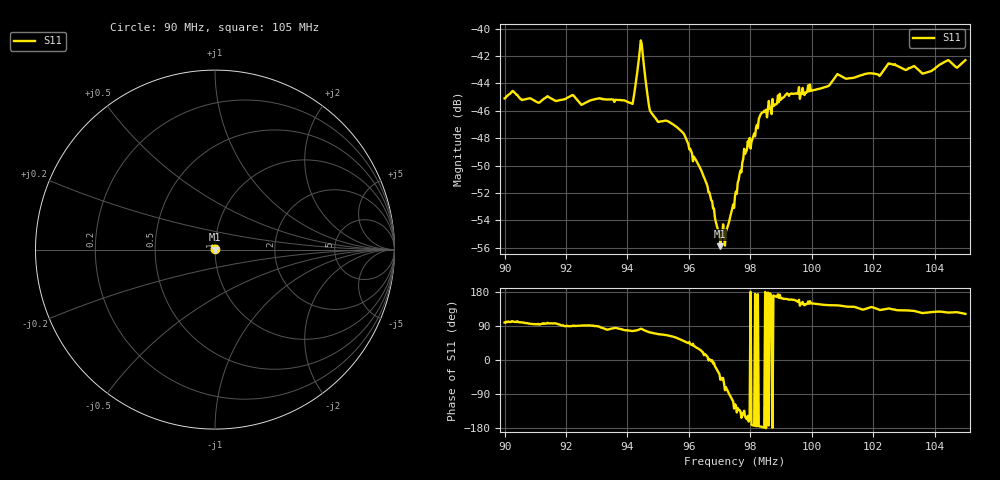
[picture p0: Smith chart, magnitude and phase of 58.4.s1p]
# HZ S RI R 50
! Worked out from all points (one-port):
!   505 points, 90 MHz to 105 MHz, reference 50 ohm
!   lowest |S11| = -55.9 dB at 97.02 MHz (marker M1), VSWR 1.00, Z = 50.1 - j0.127 ohm
!   |S11| at or under -10 dB: start of sweep to end of sweep
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9e7  -0.000876 0.00549
9.026786e7  -0.0012 0.0058
9.107143e7  -0.000387 0.00537
9.187501e7  -0.000121 0.0055
9.375001e7  0.00075 0.00544
9.416668e7  0.00125 0.00516
9.443454e7  0.00118 0.00898
9.449406e7  0.00133 0.008
9.467263e7  0.0015 0.00529
9.476192e7  0.00152 0.00472
9.562502e7  0.00233 0.00367
9.586311e7  0.00268 0.00306
9.651788e7  0.00271 0.000773
9.702383e7  0.000986 -0.00127
9.723217e7  0.00042 -0.0018
9.750002e7  -0.00111 -0.00219
9.785717e7  -0.00317 -0.0016
9.80655e7  -0.00391 -0.000533
9.833336e7  -0.00484 -0.000377
9.937503e7  -0.00538 0.0021
1.00506e8  -0.00504 0.00354
1.008334e8  -0.00556 0.00397
1.0125e8  -0.00509 0.00419
1.022024e8  -0.0045 0.00499
1.025298e8  -0.00532 0.00519
1.03125e8  -0.00464 0.0054
1.036608e8  -0.00386 0.00568
1.05e8  -0.00403 0.00653
